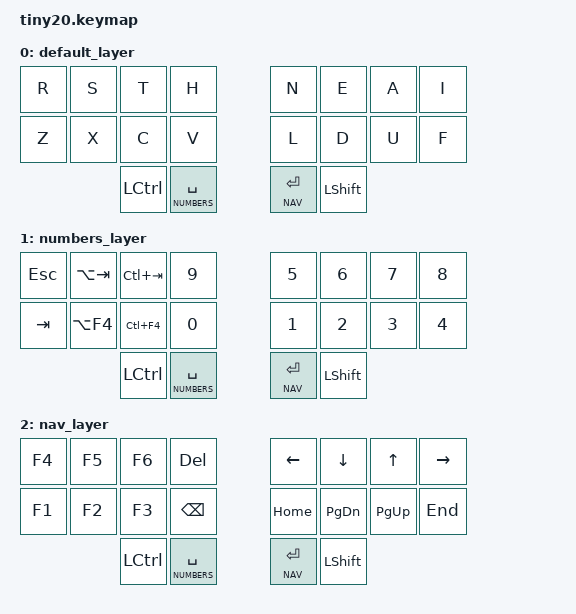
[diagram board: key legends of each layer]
/*
 * Copyright (c) 2022 The ZMK Contributors
 *
 * SPDX-License-Identifier: MIT
 */

#include <behaviors.dtsi>
#include <dt-bindings/zmk/keys.h>
#include <dt-bindings/zmk/bt.h>


#define DEFAULT 0
#define NUMBERS 1
#define NAV 2
#define SYMBOLS 3
#define MOUSE 4

/ {
 
//combos...2個以上のキー同時押しによる出力
//使用しないのでコメントアウト
//	combos {
//		compatible = "zmk,combos";
//		combo_q {
//			timeout-ms = <50>;
//			timeout-ms = <50>;
//			#キーの出力値ではなく、キーの位置
//			key-positions = <0 1>;
//			layers = <0>;
//			bindings = <&kp Q>;
//		};
//	};

//レイヤー設定
//3レイヤー使用予定
	keymap {
		compatible = "zmk,keymap";
		default_layer {
			bindings = <
				&kp R     &kp S     &kp T     &kp H                 &kp N     &kp E     &kp A     &kp I    
				&kp Z     &kp X     &kp C     &kp V                 &kp L     &kp D     &kp U     &kp F
				                    &kp LCTRL &lt NUMBERS SPACE     &lt NAV ENTER &kp LSHFT
			>;
		};

		numbers_layer {
			bindings = <
				&kp ESC   &kp LA(TAB)     &kp LC(TAB)     &kp N9                &kp N5     &kp N6     &kp N7     &kp N8    
				&kp TAB   &kp LA(F4)      &kp LC(F4)       &kp N0                &kp N1     &kp N2     &kp N3     &kp N4
				                              &kp LCTRL &lt NUMBERS SPACE                &lt NAV ENTER &kp LSHFT
			>;
		};

		nav_layer {
			bindings = <
				&kp F4    &kp F5    &kp F6    &kp DEL               &kp LEFT     &kp DOWN     &kp UP     &kp RIGHT    
				&kp F1    &kp F2    &kp F3    &kp BSPC              &kp HOME     &kp PG_DN    &kp PG_UP  &kp END
				                    &kp LCTRL &lt NUMBERS SPACE     &lt NAV ENTER &kp LSHFT
			>;
		};
	};
};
